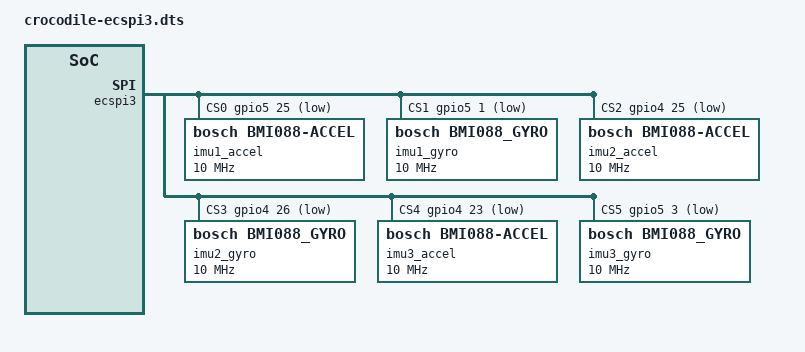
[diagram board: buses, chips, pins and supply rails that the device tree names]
// SPDX-License-Identifier: (GPL-2.0+ OR MIT)
/*
 * Copyright (C) 2021 Leica Geosystems AG
 */

#include <dt-bindings/gpio/gpio.h>
#include "crocodile-pinmap.h"

/dts-v1/;
/plugin/;

&ecspi3 {
	fsl,spi-num-chipselects = <6>;
	cs-gpios =
		   <&gpio5 25 GPIO_ACTIVE_LOW>,
		   <&gpio5 1 GPIO_ACTIVE_LOW>,
		   <&gpio4 25 GPIO_ACTIVE_LOW>,
		   <&gpio4 26 GPIO_ACTIVE_LOW>,
		   <&gpio4 23 GPIO_ACTIVE_LOW>,
		   <&gpio5 3 GPIO_ACTIVE_LOW>;
	pinctrl-names = "default";
	pinctrl-0 = <&pinctrl_ecspi3>;
	status = "okay";

	imu1_accel:bmg088@0 {
		compatible = "bosch,bmi088-accel";
		spi-max-frequency = <10000000>;
		reg = <0>;
	};

	imu1_gyro:bmg088@1 {
		compatible = "bosch,bmi088_gyro";
		spi-max-frequency = <10000000>;
		reg = <1>;
	};

	imu2_accel:bmg088@2 {
		compatible = "bosch,bmi088-accel";
		spi-max-frequency = <10000000>;
		reg = <2>;
	};

	imu2_gyro:bmg088@3 {
		compatible = "bosch,bmi088_gyro";
		spi-max-frequency = <10000000>;
		reg = <3>;
	};

	imu3_accel:bmg088@4 {
		compatible = "bosch,bmi088-accel";
		spi-max-frequency = <10000000>;
		reg = <4>;
	};

	imu3_gyro:bmg088@5 {
		compatible = "bosch,bmi088_gyro";
		spi-max-frequency = <10000000>;
		reg = <5>;
	};
};

&iomuxc {
	pinctrl_ecspi3: ecspi3grp {
		fsl,pins = <
			CROCODILE_IMX8_ECSPI3_MOSI	0x0
			CROCODILE_IMX8_ECSPI3_MISO	0x0
			CROCODILE_IMX8_ECSPI3_SCLK	0x0
			CROCODILE_IMU_1_CS_ACC		0x0
			CROCODILE_IMU_1_CS_GYRO		0x0
			CROCODILE_IMU_2_CS_ACC		0x0
			CROCODILE_IMU_2_CS_GYRO		0x0
			CROCODILE_IMU_3_CS_ACC		0x0
			CROCODILE_IMU_3_CS_GYRO		0x0
		>;
	};
};
